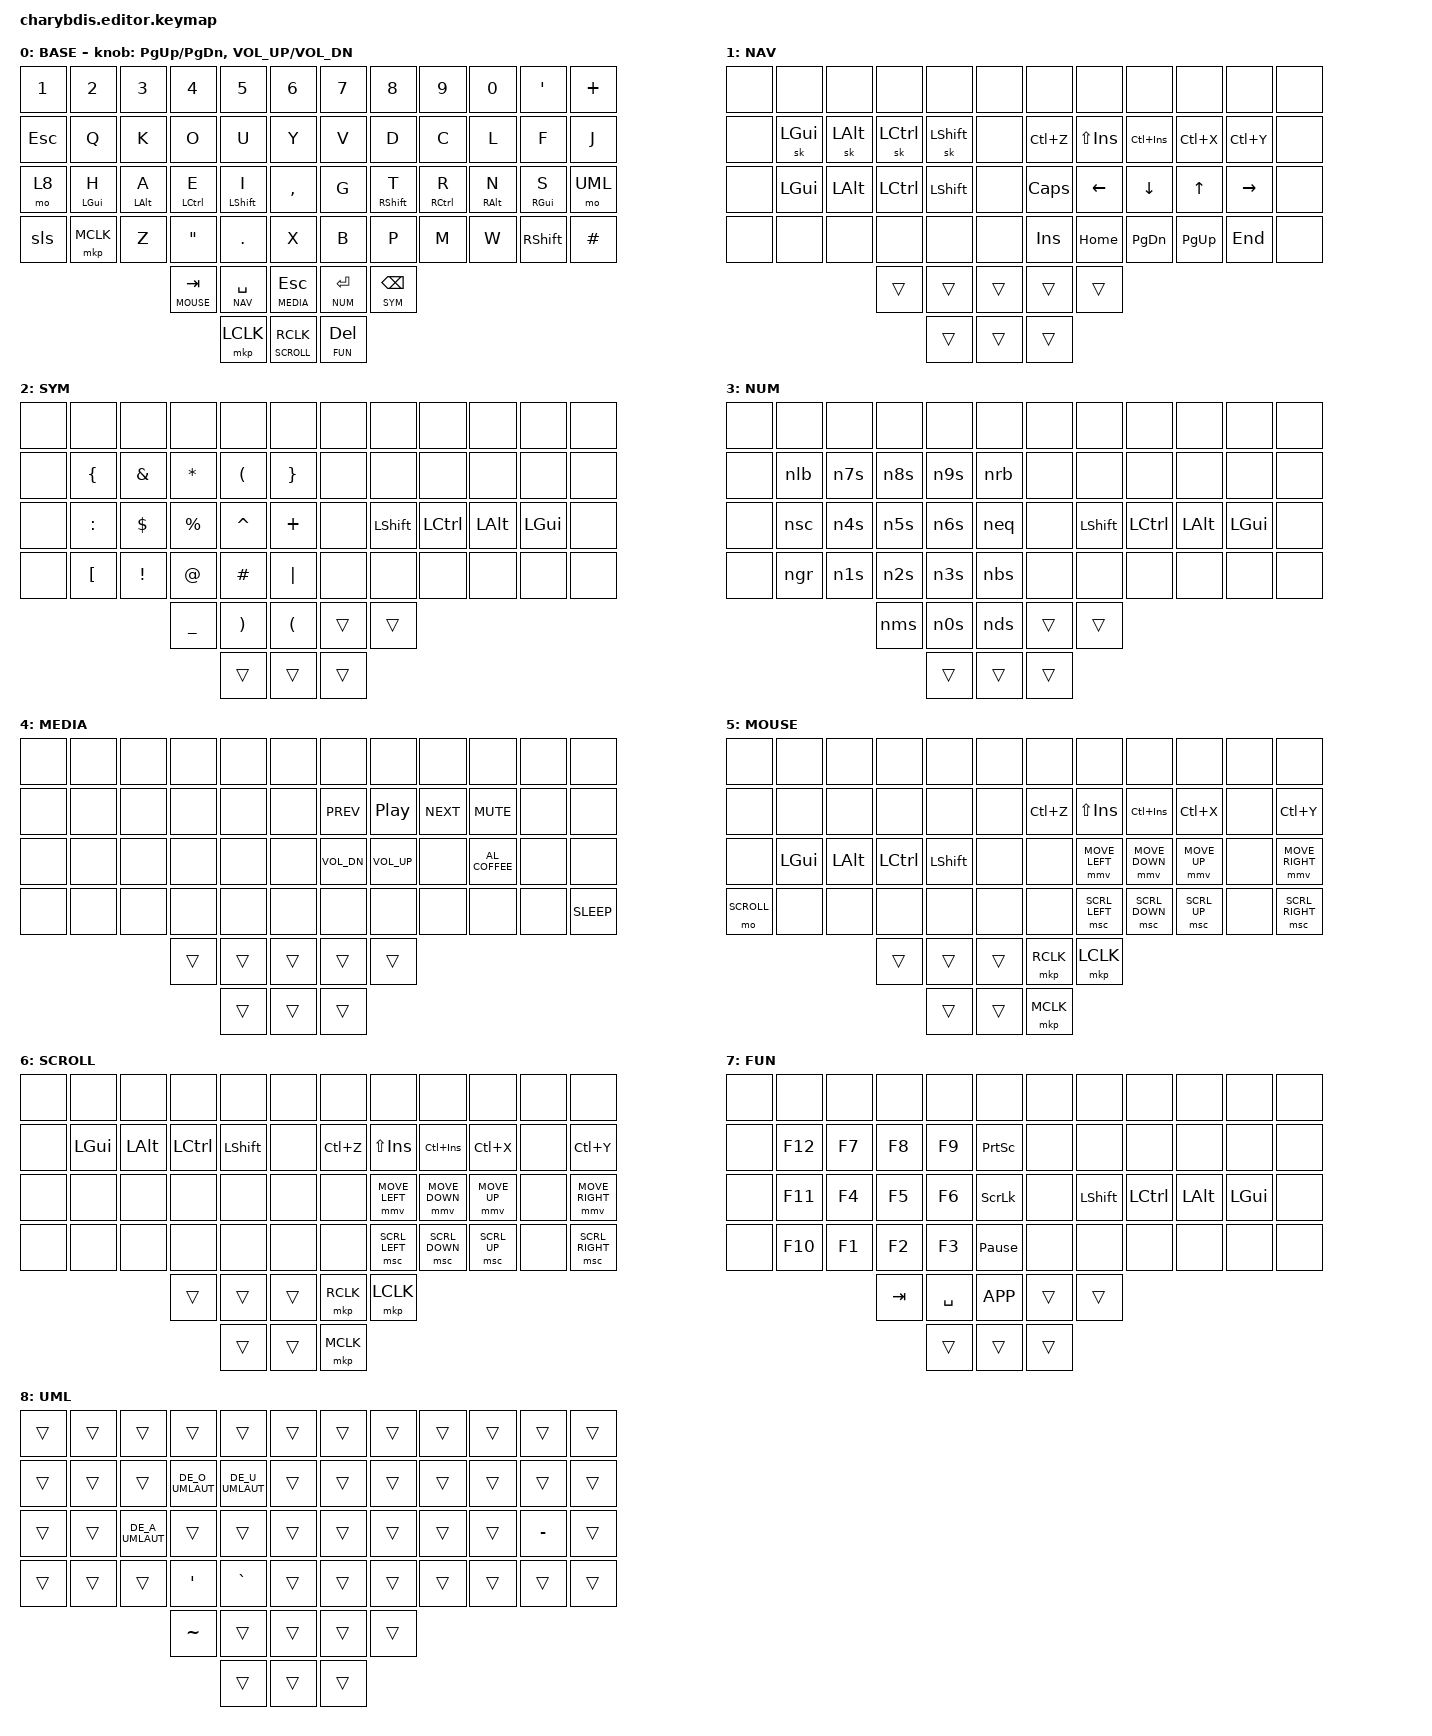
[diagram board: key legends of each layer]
#include <dt-bindings/zmk/mouse.h>
#include <behaviors/mouse_keys.dtsi>
#include <behaviors.dtsi>
#include <dt-bindings/zmk/keys.h>
#include <dt-bindings/zmk/pointing.h>
#include "keys_de_german.h"

/*
 * Editor mirror keymap
 * -------------------
 * This file prioritizes keymap-editor readability.
 * Hardware-specific corrections are made in `charybdis.keymap`.
 */
/* Layer IDs (keep stable; referenced by listeners and toggles) */

#define BASE    0
#define NAV     1
#define SYM     2
#define NUM     3
#define MEDIA   4
#define MOUSE   5
#define SCROLL  6
#define FUN     7
#define UML     8

/ {
    /* Trackball pointer on normal layers */

    trackball_listener {
        compatible = "zmk,input-behavior-listener";
        device = <&trackball>;
        layers = <BASE NAV NUM MEDIA MOUSE>;
        evt-type = <INPUT_EV_REL>;
        x-input-code = <INPUT_REL_X>;
        y-input-code = <INPUT_REL_Y>;
        scale-multiplier = <1>;
        scale-divisor = <2>;
    };

    /* Trackball scroll only when SCROLL layer is active */

    trackball_scroll_listener {
        compatible = "zmk,input-behavior-listener";
        device = <&trackball>;
        layers = <SCROLL>;
        evt-type = <INPUT_EV_REL>;
        x-input-code = <INPUT_REL_HWHEEL>;
        y-input-code = <INPUT_REL_WHEEL>;
        y-invert;
        bindings = <&ib_wheel_scaler 1 14>;
    };

    ib_wheel_scaler: ib_wheel_scaler {
        compatible = "zmk,input-behavior-scaler";
        #binding-cells = <2>;
        evt-type = <INPUT_EV_REL>;
        input-code = <INPUT_REL_WHEEL>;
    };

    behaviors {
        /* Home-row mod hold-tap behaviors with opposite-hand hold triggers */

        hm_l: hm_l {
            compatible = "zmk,behavior-hold-tap";
            label = "HM_L";
            #binding-cells = <2>;
            tapping-term-ms = <210>;
            quick-tap-ms = <150>;
            require-prior-idle-ms = <170>;
            flavor = "balanced";
            bindings = <&kp>, <&kp>;

            hold-trigger-key-positions = <6 7 8 9 10 11 18 19 20 21 22 23 30 31 32 33 34 35 42 43 44 45 46 47 51 52 54 55>;
            hold-trigger-on-release;
        };

        hm_r: hm_r {
            compatible = "zmk,behavior-hold-tap";
            label = "HM_R";
            #binding-cells = <2>;
            tapping-term-ms = <210>;
            quick-tap-ms = <150>;
            require-prior-idle-ms = <170>;
            flavor = "balanced";
            bindings = <&kp>, <&kp>;

            hold-trigger-key-positions = <0 1 2 3 4 5 12 13 14 15 16 17 24 25 26 27 28 29 36 37 38 39 40 41 48 49 50 53>;
            hold-trigger-on-release;
        };

        /* Thumb layer-tap with quick-tap repeat: tap, then quick re-press-and-hold repeats Backspace instead of activating SYM. */

        bspc_sym: bspc_sym {
            compatible = "zmk,behavior-hold-tap";
            label = "BSPC_SYM";
            #binding-cells = <2>;
            tapping-term-ms = <210>;
            quick-tap-ms = <200>;
            flavor = "balanced";
            bindings = <&mo>, <&kp>;
        };

        /* Thumb layer-tap with quick-tap repeat for Space before NAV hold. */

        spc_nav: spc_nav {
            compatible = "zmk,behavior-hold-tap";
            label = "SPC_NAV";
            #binding-cells = <2>;
            tapping-term-ms = <210>;
            quick-tap-ms = <200>;
            flavor = "balanced";
            bindings = <&mo>, <&kp>;
        };

        /* Thumb layer-tap with quick-tap repeat for Enter before NUM hold. */

        ent_num: ent_num {
            compatible = "zmk,behavior-hold-tap";
            label = "ENT_NUM";
            #binding-cells = <2>;
            tapping-term-ms = <210>;
            quick-tap-ms = <200>;
            flavor = "balanced";
            bindings = <&mo>, <&kp>;
        };

        /* Thumb layer-tap with quick-tap repeat for Delete before FUN hold. */

        del_fun: del_fun {
            compatible = "zmk,behavior-hold-tap";
            label = "DEL_FUN";
            #binding-cells = <2>;
            tapping-term-ms = <210>;
            quick-tap-ms = <200>;
            flavor = "balanced";
            bindings = <&mo>, <&kp>;
        };

        /* Mouse button hold-tap: tap right click, hold scroll layer. */

        rclk_scroll: rclk_scroll {
            compatible = "zmk,behavior-hold-tap";
            label = "RCLK_SCR";
            #binding-cells = <2>;
            tapping-term-ms = <210>;
            flavor = "balanced";
            bindings = <&mo>, <&mkp>;
        };

        /* NUM layer shifted dual-bindings (tap number, hold shift => symbol) */

        n7s: n7s {
            compatible = "zmk,behavior-mod-morph";
            #binding-cells = <0>;
            bindings = <&kp N7>, <&kp AMPS>;

            mods = <(MOD_LSFT|MOD_RSFT)>;
        };

        n8s: n8s {
            compatible = "zmk,behavior-mod-morph";
            #binding-cells = <0>;
            bindings = <&kp N8>, <&kp STAR>;

            mods = <(MOD_LSFT|MOD_RSFT)>;
        };

        n9s: n9s {
            compatible = "zmk,behavior-mod-morph";
            #binding-cells = <0>;
            bindings = <&kp N9>, <&kp LPAR>;

            mods = <(MOD_LSFT|MOD_RSFT)>;
        };

        n4s: n4s {
            compatible = "zmk,behavior-mod-morph";
            #binding-cells = <0>;
            bindings = <&kp N4>, <&kp DLLR>;

            mods = <(MOD_LSFT|MOD_RSFT)>;
        };

        n5s: n5s {
            compatible = "zmk,behavior-mod-morph";
            #binding-cells = <0>;
            bindings = <&kp N5>, <&kp PRCNT>;

            mods = <(MOD_LSFT|MOD_RSFT)>;
        };

        n6s: n6s {
            compatible = "zmk,behavior-mod-morph";
            #binding-cells = <0>;
            bindings = <&kp N6>, <&kp CARET>;

            mods = <(MOD_LSFT|MOD_RSFT)>;
        };

        n1s: n1s {
            compatible = "zmk,behavior-mod-morph";
            #binding-cells = <0>;
            bindings = <&kp N1>, <&kp EXCL>;

            mods = <(MOD_LSFT|MOD_RSFT)>;
        };

        n2s: n2s {
            compatible = "zmk,behavior-mod-morph";
            #binding-cells = <0>;
            bindings = <&kp N2>, <&kp AT>;

            mods = <(MOD_LSFT|MOD_RSFT)>;
        };

        n3s: n3s {
            compatible = "zmk,behavior-mod-morph";
            #binding-cells = <0>;
            bindings = <&kp N3>, <&kp HASH>;

            mods = <(MOD_LSFT|MOD_RSFT)>;
        };

        n0s: n0s {
            compatible = "zmk,behavior-mod-morph";
            #binding-cells = <0>;
            bindings = <&kp N0>, <&kp RPAR>;

            mods = <(MOD_LSFT|MOD_RSFT)>;
        };

        nds: nds {
            compatible = "zmk,behavior-mod-morph";
            #binding-cells = <0>;
            bindings = <&kp DOT>, <&kp GT>;

            mods = <(MOD_LSFT|MOD_RSFT)>;
        };

        nms: nms {
            compatible = "zmk,behavior-mod-morph";
            #binding-cells = <0>;
            bindings = <&kp MINUS>, <&kp UNDER>;

            mods = <(MOD_LSFT|MOD_RSFT)>;
        };

        nlb: nlb {
            compatible = "zmk,behavior-mod-morph";
            #binding-cells = <0>;
            bindings = <&kp LBKT>, <&kp LBRC>;

            mods = <(MOD_LSFT|MOD_RSFT)>;
        };

        nsc: nsc {
            compatible = "zmk,behavior-mod-morph";
            #binding-cells = <0>;
            bindings = <&kp SEMI>, <&kp COLON>;

            mods = <(MOD_LSFT|MOD_RSFT)>;
        };

        ngr: ngr {
            compatible = "zmk,behavior-mod-morph";
            #binding-cells = <0>;
            bindings = <&kp GRAVE>, <&kp TILDE>;

            mods = <(MOD_LSFT|MOD_RSFT)>;
        };

        nrb: nrb {
            compatible = "zmk,behavior-mod-morph";
            #binding-cells = <0>;
            bindings = <&kp RBKT>, <&kp RBRC>;

            mods = <(MOD_LSFT|MOD_RSFT)>;
        };

        neq: neq {
            compatible = "zmk,behavior-mod-morph";
            #binding-cells = <0>;
            bindings = <&kp EQUAL>, <&kp PLUS>;

            mods = <(MOD_LSFT|MOD_RSFT)>;
        };

        nbs: nbs {
            compatible = "zmk,behavior-mod-morph";
            #binding-cells = <0>;
            bindings = <&kp BSLH>, <&kp PIPE>;

            mods = <(MOD_LSFT|MOD_RSFT)>;
        };

        sls: sls {
            compatible = "zmk,behavior-mod-morph";
            #binding-cells = <0>;
            bindings = <&kp SLASH>, <&kp BSLH>;

            mods = <(MOD_LSFT|MOD_RSFT)>;
        };

        bslh_sls: bslh_sls {
            compatible = "zmk,behavior-mod-morph";
            #binding-cells = <0>;
            bindings = <&kp BSLH>, <&kp SLASH>;

            mods = <(MOD_LSFT|MOD_RSFT)>;
        };
    };

    keymap {
        compatible = "zmk,keymap";

        base_layer {
            label = "BASE";
            bindings = <
&kp N1      &kp N2            &kp N3            &kp N4                &kp N5              &kp N6                      &kp N7               &kp N8                   &kp N9                 &kp N0             &kp SINGLE_QUOTE   &kp PLUS
&kp ESCAPE  &kp Q             &kp K             &kp O                 &kp U               &kp Y                       &kp V                &kp D                    &kp C                  &kp L              &kp F              &kp J
&mo 8       &hm_l LEFT_GUI H  &hm_l LEFT_ALT A  &hm_l LEFT_CONTROL E  &hm_l LEFT_SHIFT I  &kp COMMA                   &kp G                &hm_r RIGHT_SHIFT T      &hm_r RIGHT_CONTROL R  &hm_r RIGHT_ALT N  &hm_r RIGHT_GUI S  &mo UML
&sls        &mkp MCLK         &kp Z             &kp DQT               &kp DOT             &kp X                       &kp B                &kp P                    &kp M                  &kp W              &kp RIGHT_SHIFT    &kp HASH
                                                &lt MOUSE TAB         &spc_nav NAV SPACE  &lt MEDIA ESCAPE            &ent_num NUM ENTER   &bspc_sym SYM BACKSPACE
                                                                      &mkp LCLK           &rclk_scroll SCROLL RCLK    &del_fun FUN DELETE
            >;

            sensor-bindings =
                <&inc_dec_kp PG_UP PG_DN>,
                <&inc_dec_kp C_VOL_UP C_VOL_DN>;
        };

        nav_layer {
            label = "NAV";
            bindings = <
&none   &none             &none            &none            &none                &none                  &none          &none            &none           &none            &none            &none
&none   &sk LEFT_GUI      &sk LEFT_ALT     &sk LEFT_CONTROL &sk LEFT_SHIFT       &none                  &kp LC(Z)      &kp LS(INSERT)   &kp LC(INSERT)  &kp LC(X)        &kp LC(Y)        &none
&none         &kp LEFT_GUI  &kp LEFT_ALT     &kp LEFT_CONTROL &kp LEFT_SHIFT       &none                  &kp CAPSLOCK   &kp LEFT_ARROW   &kp DOWN_ARROW  &kp UP_ARROW     &kp RIGHT_ARROW  &none
&none   &none             &none            &none            &none                &none                  &kp INSERT     &kp HOME         &kp PAGE_DOWN   &kp PAGE_UP      &kp END          &none
                                   &trans            &trans           &trans               &trans           &trans
                                                     &trans           &trans           &trans
            >;
        };

        sym_layer {
            label = "SYM";
            bindings = <
&none  &none      &none     &none      &none      &none       &none   &none           &none             &none         &none         &none
&none  &kp LBRC   &kp AMPS  &kp STAR   &kp LPAR   &kp RBRC    &none   &none           &none             &none         &none         &none
&none  &kp COLON  &kp DLLR  &kp PRCNT  &kp CARET  &kp PLUS    &none   &kp LEFT_SHIFT  &kp LEFT_CONTROL  &kp LEFT_ALT  &kp LEFT_GUI  &none
&none  &kp LBKT   &kp EXCL  &kp AT     &kp HASH   &kp PIPE    &none   &none           &none             &none         &none         &none
                            &kp UNDER  &kp RPAR   &kp LPAR    &trans  &trans
                                       &trans     &trans      &trans
            >;
        };

        num_layer {
            label = "NUM";
            bindings = <
&none  &none  &none  &none  &none   &none     &none   &none           &none             &none         &none         &none
&none  &nlb   &n7s   &n8s   &n9s    &nrb      &none   &none           &none             &none         &none         &none
&none  &nsc   &n4s   &n5s   &n6s    &neq      &none   &kp LEFT_SHIFT  &kp LEFT_CONTROL  &kp LEFT_ALT  &kp LEFT_GUI  &none
&none  &ngr   &n1s   &n2s   &n3s    &nbs      &none   &none           &none             &none         &none         &none
                     &nms   &n0s    &nds      &trans  &trans
                            &trans  &trans    &trans
            >;
        };

        media_layer {
            label = "MEDIA";
            bindings = <
&none  &none  &none  &none   &none   &none     &none         &none             &none       &none            &none  &none
&none  &none  &none  &none   &none   &none     &kp C_PREV    &kp C_PLAY_PAUSE  &kp C_NEXT  &kp C_MUTE       &none  &none
&none  &none  &none  &none   &none   &none     &kp C_VOL_DN  &kp C_VOL_UP      &none       &kp C_AL_COFFEE  &none  &none
&none  &none  &none  &none   &none   &none     &none         &none             &none       &none            &none  &kp C_SLEEP
                     &trans  &trans  &trans    &trans        &trans
                             &trans  &trans    &trans
            >;
        };

        mouse_layer {
            label = "MOUSE";
            bindings = <
&none   &none           &none             &none            &none             &none          &none            &none             &none           &none          &none        &none
&none   &none           &none             &none            &none             &none          &kp LC(Z)        &kp LS(INSERT)    &kp LC(INSERT)  &kp LC(X)      &none        &kp LC(Y)
&none   &kp LEFT_GUI    &kp LEFT_ALT      &kp LEFT_CONTROL &kp LEFT_SHIFT    &none          &none            &mmv MOVE_LEFT    &mmv MOVE_DOWN  &mmv MOVE_UP   &none        &mmv MOVE_RIGHT
 &mo SCROLL  &none        &none             &none            &none             &none          &none            &msc SCRL_LEFT    &msc SCRL_DOWN  &msc SCRL_UP   &none        &msc SCRL_RIGHT
                               &trans      &trans      &trans            &mkp RCLK         &mkp LCLK
                                           &trans      &trans            &mkp MCLK
            >;
        };

        scroll_layer {
            label = "SCROLL";
            bindings = <
&none   &none           &none             &none            &none             &none          &none            &none             &none           &none          &none        &none
&none   &kp LEFT_GUI    &kp LEFT_ALT      &kp LEFT_CONTROL &kp LEFT_SHIFT    &none          &kp LC(Z)        &kp LS(INSERT)    &kp LC(INSERT)  &kp LC(X)      &none        &kp LC(Y)
&none      &none        &none             &none            &none             &none          &none            &mmv MOVE_LEFT    &mmv MOVE_DOWN  &mmv MOVE_UP   &none        &mmv MOVE_RIGHT
/* SCROLL is momentary via left outer key in BASE/MOUSE (&mo SCROLL). */
&none   &none           &none             &none            &none             &none          &none            &msc SCRL_LEFT    &msc SCRL_DOWN  &msc SCRL_UP   &none        &msc SCRL_RIGHT
                               &trans      &trans      &trans            &mkp RCLK         &mkp LCLK
                                           &trans      &trans            &mkp MCLK
            >;
        };

        fun_layer {
            label = "FUN";
            bindings = <
&none  &none    &none   &none    &none      &none              &none   &none           &none             &none         &none         &none
&none  &kp F12  &kp F7  &kp F8   &kp F9     &kp PRINTSCREEN    &none   &none           &none             &none         &none         &none
&none  &kp F11  &kp F4  &kp F5   &kp F6     &kp SCROLLLOCK     &none   &kp LEFT_SHIFT  &kp LEFT_CONTROL  &kp LEFT_ALT  &kp LEFT_GUI  &none
&none  &kp F10  &kp F1  &kp F2   &kp F3     &kp PAUSE_BREAK    &none   &none           &none             &none         &none         &none
                        &kp TAB  &kp SPACE  &kp K_APP          &trans  &trans
                                 &trans     &trans             &trans
            >;
        };

        uml_layer {
            label = "UML";
            bindings = <
&trans  &trans  &trans           &trans            &trans           &trans    &trans  &trans  &trans  &trans  &trans     &trans
&trans  &trans  &trans           &kp DE_O_UMLAUT   &kp DE_U_UMLAUT  &trans    &trans  &trans  &trans  &trans  &trans     &trans
&trans  &trans  &kp DE_A_UMLAUT  &trans            &trans           &trans    &trans  &trans  &trans  &trans  &kp MINUS  &trans
&trans  &trans  &trans           &kp SINGLE_QUOTE  &kp GRAVE        &trans    &trans  &trans  &trans  &trans  &trans     &trans
                                 &kp TILDE         &trans           &trans    &trans  &trans
                                                   &trans           &trans    &trans
            >;
        };
    };
};
